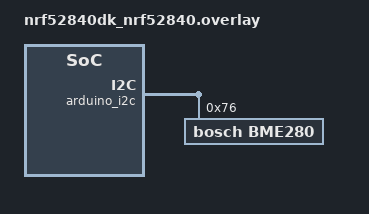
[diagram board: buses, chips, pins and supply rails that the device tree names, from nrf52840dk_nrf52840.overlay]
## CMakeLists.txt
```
# SPDX-License-Identifier: Apache-2.0

cmake_minimum_required(VERSION 3.20.0)

# Find external Zephyr project, and load its settings:
find_package(Zephyr REQUIRED HINTS $ENV{ZEPHYR_BASE})

# Set project name:
project (MyApp)

# add sources
target_sources(app PRIVATE src/main.c
                           services/CustomService.c)             
```

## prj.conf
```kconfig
# Enable Logging
CONFIG_LOG=y

# MyApp Logging settings
CONFIG_MYAPP_LOG_ENABLED=y
CONFIG_MYAPP_LOG_LEVEL_ERR=y
#CONFIG_MYAPP_LOG_LEVEL_WRN=y
#CONFIG_MYAPP_LOG_LEVEL_INF=y
#CONFIG_MYAPP_LOG_LEVEL_DBG=y

# Enable Zephyr Shell
CONFIG_SHELL=y

# Enable Software Modules for BME280 Sensor Driver Usage
CONFIG_I2C=y
CONFIG_SENSOR=y

#=== Enable Bluetooth Stack
CONFIG_BT=y
#CONFIG_BT_DEVICE_NAME="DIS peripheral"
CONFIG_BT_DEVICE_NAME="Custom Service Peripheral"

#------ Define Bluetooth LE Role 
#CONFIG_BT_BROADCASTER=y   # note: BROADCASTER is activated by default
#CONFIG_BT_CENTRAL=n       not used in this example (default value: n)
#CONFIG_BT_OBSERVER=n      not used in this example (default value: n)
CONFIG_BT_PERIPHERAL=y

#------ Device Information Service (DIS)
CONFIG_BT_DIS=y

CONFIG_BT_DIS_MANUF="Zephyr"
CONFIG_BT_DIS_MODEL="Zephyr Model"
CONFIG_BT_DIS_SERIAL_NUMBER=y
CONFIG_BT_DIS_SERIAL_NUMBER_STR="Zephyr Serial"
CONFIG_BT_DIS_HW_REV=y
CONFIG_BT_DIS_HW_REV_STR="Zephyr Hardware"
CONFIG_BT_DIS_FW_REV=y
CONFIG_BT_DIS_FW_REV_STR="Zephyr Firmware"
CONFIG_BT_DIS_SW_REV=y
CONFIG_BT_DIS_SW_REV_STR="Zephyr Software"
CONFIG_BT_DIS_PNP=n
#CONFIG_BT_DIS_PNP_PID=0x00   not used in this example
#CONFIG_BT_DIS_PNP_VID=0x00   not used in this example
#CONFIG_BT_DIS_PNP_VID_SRC=1  not used in this example
#CONFIG_BT_DIS_PNP_VER=0x01   not used in this example

#------ Add Bluetooth Security Manager
CONFIG_BT_SMP=y
CONFIG_BT_SMP_SC_ONLY=y
```

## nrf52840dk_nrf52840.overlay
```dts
// To get started, press Ctrl+Space to bring up the completion menu and view the available nodes.

// You can also use the buttons in the sidebar to perform actions on nodes.
// Actions currently available include:

// * Enabling / disabling the node
// * Adding the bus to a bus
// * Removing the node
// * Connecting ADC channels

// For more help, browse the DeviceTree documentation at https://docs.zephyrproject.org/latest/guides/dts/index.html
// You can also visit the nRF DeviceTree extension documentation at https://nrfconnect.github.io/vscode-nrf-connect/devicetree/nrfdevicetree.html

/* Configuration of a BME280 device on an Arduino I2C bus.
   -------------------------------------------------------
   Device Address 0x76 is used here. 
   Selected pins (Arduino I2C bus default pins - I2C0):
        SCL  ->  P0.27
        SDA  ->  P0.26
*/    
&arduino_i2c {
    status = "okay";
    bme280@76 {
            compatible = "bosch,bme280";
            reg = <0x76>;
    };
};
```

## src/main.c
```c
#include <zephyr/kernel.h>
#include <zephyr/shell/shell.h>
#include <zephyr/logging/log.h>
#include <zephyr/device.h>
#include <zephyr/drivers/sensor.h>
#include <zephyr/bluetooth/bluetooth.h>
#include <zephyr/bluetooth/services/dis.h>
#include <zephyr/bluetooth/conn.h> 
#include <zephyr/bluetooth/uuid.h>
#include "../services/CustomService.h"

/** LOG MODULE REGISTRATION:
    - First parameter: module name
    - Second Parameter (optional): log level
         Following Log-Levels can be used:
             LOG_LEVEL_NONE  => OFF:     log will not be active. 
             LOG_LEVEL_ERR   => ERROR:   write only LOG_ERR messages
             LOG_LEVEL_WRN   => WARNING: write LOG_WRN and LOG_ERR messages
             LOG_LEVEL_INF   => INFO:    write LOG_INF, LOG_WRN, and LOG_ERR messages
             LOG_LEVEL_DBG   => DEBUG:   write LOG_DBF, LOG_INF, LOG_WRN, and LOG_ERR messages
**/
/*
 * The following CONFIGs from prj.conf control the log messages:
 * - CONFIG_MYAPP_LOG_ENABLED 
 *          0: logging messages are disabled. Use Log_Level None
 *          1: logging messages are enabled
 * - CONFIG_MYAPP_LOG_LEVEL 
 *          severity level of the logging messages that are to be output
 */
#if IS_ENABLED(CONFIG_MYAPP_LOG_ENABLED) 
    #define LOG_LEVEL CONFIG_MYAPP_LOG_LEVEL
#else
    #define LOG_LEVEL 0
#endif
LOG_MODULE_REGISTER(MyApp, LOG_LEVEL);


/*----- Handling Bluetooth -----*/
static const struct bt_data ad[] = {
    BT_DATA_BYTES(BT_DATA_FLAGS, (BT_LE_AD_GENERAL | BT_LE_AD_NO_BREDR)),
    BT_DATA_BYTES(BT_DATA_UUID16_ALL, BT_UUID_16_ENCODE(BT_UUID_DIS_VAL)),
};

void start_advertising(void)
{
    int err;

    err = bt_le_adv_start(BT_LE_ADV_CONN_NAME, ad, ARRAY_SIZE(ad), NULL, 0);
    if (err) {
        printk("Advertising failed to start (err %d)\n", err);
    }
    else {
        printk("Advertising successfully started\n");
    }
}

static void auth_passkey_display(struct bt_conn *conn, unsigned int passkey)
{
     printk("Passkey: %06u\n", passkey);
}

static void pairing_failed(struct bt_conn *conn, enum bt_security_err reason)
{
    printk("Pairing Failed (%d). Disconnecting.\n", reason);
    bt_conn_disconnect(conn, BT_HCI_ERR_AUTH_FAIL);
}

static void pairing_complete(struct bt_conn *conn, bool bonded)
{
    printk("Pairing Complete\n");
}

static void auth_cancel(struct bt_conn *conn)
{
    char addr[BT_ADDR_LE_STR_LEN];

    bt_addr_le_to_str(bt_conn_get_dst(conn), addr, sizeof(addr));
    printk("Pairing cancelled: %s\n", addr);
}

static struct bt_conn_auth_cb auth_cb_display = {
        .passkey_display = auth_passkey_display,
        .passkey_entry = NULL,
        .cancel = auth_cancel,
};

static struct bt_conn_auth_info_cb auth_cb_info = {
        .pairing_failed = pairing_failed,
        .pairing_complete = pairing_complete,
};

static void connected(struct bt_conn *conn, uint8_t err)
{
    if (err) {
        printk("Connection failed (err 0x%02x)\n", err);
    } else {
        printk("Connected\n");
        if (bt_conn_set_security(conn, BT_SECURITY_L4)) {
            printk("Failed to set security\n");
        }         
    }
}

static void disconnected(struct bt_conn *conn, uint8_t reason)
{
    printk("Disconnected (reason 0x%02x)\n", reason);
    start_advertising();    
}

static void identity_resolved(struct bt_conn *conn, const bt_addr_le_t *rpa, const bt_addr_le_t *identity)
{
    char addr_identity[BT_ADDR_LE_STR_LEN];
    char addr_rpa[BT_ADDR_LE_STR_LEN];

    bt_addr_le_to_str(identity, addr_identity, sizeof(addr_identity));
    bt_addr_le_to_str(rpa, addr_rpa, sizeof(addr_rpa));

    printk("Identity resolved %s -> %s\n", addr_rpa, addr_identity);
}

static void security_changed(struct bt_conn *conn, bt_security_t level, enum bt_security_err err)
{
    if (!err) {
        printk("Security changed: level %u\n", level);
    } else {
        printk("Security failed: level %u err %d\n", level, err);
    }
}

/* Register a callback structure for connection events. */
BT_CONN_CB_DEFINE(conn_callbacks) = {
    .connected = connected,
    .disconnected = disconnected,
    .identity_resolved = identity_resolved, 
    .security_changed = security_changed,    
};


/*----- Thread for handling BME280 sensor -----*/
#define MYTHREAD_STACK_SIZE 500
#define MYTHREAD_PRIORITY 5

void Thread_BME280(void *arg1, void *arg2, void *arg3) {
    struct sensor_value temp, press, humidity;

    const struct device *dev = DEVICE_DT_GET_ANY(bosch_bme280);
    if (dev==NULL){
        /* No such node, or the node does not have status "okay". */
        printk("\nError: Device \"%s\" is not ready.\n", dev->name);
        /* You can also use Zephyr Logging instead of printk() instruction, if Logging is enabled in your project. */
        // LOG_ERR("Error: Device \"%s\" is not ready.", dev->name);
        return;
    }

    while(1) {
        if (MeasureEnable==0x01){
            sensor_sample_fetch(dev);
            sensor_channel_get(dev, SENSOR_CHAN_AMBIENT_TEMP, &temp);
            sensor_channel_get(dev, SENSOR_CHAN_PRESS, &press);
            sensor_channel_get(dev, SENSOR_CHAN_HUMIDITY, &humidity);
  
            printk("temp: %d.%06d; press: %d.%06d; humidity: %d.%06d\n",
                temp.val1, temp.val2, press.val1, press.val2,
                humidity.val1, humidity.val2);
        }
        k_sleep(K_MSEC(1000)); 
    }
}

K_THREAD_DEFINE(
           my_tid,              /* Name of the thread                          */
           MYTHREAD_STACK_SIZE, /* Stack size in bytes                       */
           Thread_BME280,       /* Thread entry function                       */
           NULL, NULL, NULL,    /* Passing parameters for entry point function */
           MYTHREAD_PRIORITY,   /* Thread priority                             */
           0,                   /* Thread options                              */
           0);                  /* Scheduling delay (0 for no delay)           */



/*----- main function -----*/
void main(void)
{
    printk("Testing Zephyr Logging!\n");

//    const struct device *dev = DEVICE_DT_GET_ANY(bosch_bme280);
//    if (dev==NULL){
//        /* No such node, or the node does not have status "okay". */
//        printk("\nError: Device \"%s\" is not ready.\n", dev->name);
//        /* You can also use Zephyr Logging instead of printk() instruction, if Logging is enabled in your project. */
//        // LOG_ERR("Error: Device \"%s\" is not ready.", dev->name);
//        return;
//    }

//    LOG_INF("1-This is a test");
//    LOG_ERR("1-ERROR: test");
//    LOG_WRN("1-WARNING: test");
//    LOG_DBG("1-DEBUG: test");

    int err;

    /* Initialize the Bluetooth Subsystem */
    err = bt_enable(NULL);
    if (err) {
        printk("Bluetooth init failed (err %d)\n", err);
        return;
    }
    printk("Bluetooth initialized\n");

    bt_conn_auth_cb_register(&auth_cb_display);
    bt_conn_auth_info_cb_register(&auth_cb_info);

    start_advertising();

    //Initalize services
    err = CustomService_init();
    if (err) {
        printk("Custom Service initialization failed!\n");
        return;
    }

    while(1){
//        struct sensor_value temp, press, humidity;
     
//        sensor_sample_fetch(dev);
//        sensor_channel_get(dev, SENSOR_CHAN_AMBIENT_TEMP, &temp);
//        sensor_channel_get(dev, SENSOR_CHAN_PRESS, &press);
//        sensor_channel_get(dev, SENSOR_CHAN_HUMIDITY, &humidity);
         
//        printk("temp: %d.%06d; press: %d.%06d; humidity: %d.%06d\n",
//                temp.val1, temp.val2, press.val1, press.val2,
//                humidity.val1, humidity.val2);

        k_sleep(K_MSEC(1000));                
    }
}


/*----- Zephyr Shell Functions -----*/
static int cmd_led_on(const struct shell *shell, size_t argc, char **argv)
{
   ARG_UNUSED(argc);   
   ARG_UNUSED(argv);

   printk("switch on LED0\n");
//   gpio_pin_set_dt(&led,1);
   return 0;
}


static int cmd_led_off(const struct shell *shell, size_t argc, char **argv)
{
    ARG_UNUSED(argc);   
    ARG_UNUSED(argv);

    printk("switch off LED0\n");
//    gpio_pin_set_dt(&led,0);
    return 0;
}

/* Creating subcommands (level 1 command) array for command "led". */
SHELL_STATIC_SUBCMD_SET_CREATE(sub_led,
        SHELL_CMD(on, NULL, "Switch on LED0", cmd_led_on),
        SHELL_CMD(off, NULL, "Switch off LED0", cmd_led_off),
        SHELL_SUBCMD_SET_END
);
/* Creating root (level 0) command "led" */
SHELL_CMD_REGISTER(led, &sub_led, "LED commands", NULL);
```
